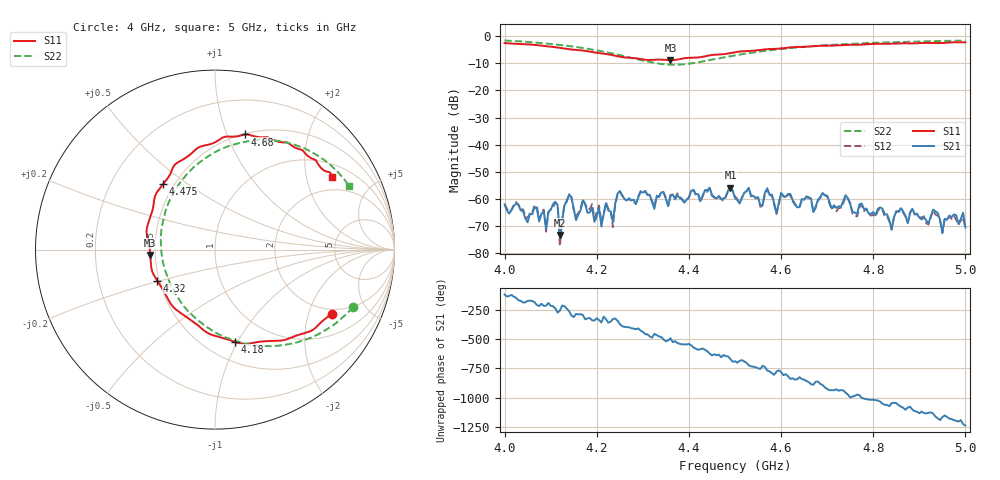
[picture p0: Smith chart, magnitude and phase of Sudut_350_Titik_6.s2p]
# Hz S RI R 50
! CMT, C1220, 16058040, 17.2.0/1
! Date: 15/08/2018 12:14:50
! Data: Format (Calibration Info)
! Freq  S11: Re/Im (F2)  S21: Re/Im (F2)  S12: Re/Im (F2)  S22: Re/Im (F2)
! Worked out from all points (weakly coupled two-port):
!   201 points, 4 GHz to 5 GHz, reference 50 ohm
!   highest |S21| = -55.72 dB at 4.49 GHz (marker M1); lowest = -73.2 dB at 4.12 GHz (marker M2)
!   lowest |S11| = -8.8 dB at 4.36 GHz (marker M3), VSWR 2.13, Z = 23.5 - j1.61 ohm
!   |S11| at or under -10 dB: nowhere
!   |S22| runs from -10.5 to -1.6 dB; largest |S21 - S12| = 0.00014
!   S11 on the Smith chart (normalised r, x): 4 GHz: 1.80, -2.88; 4.18 GHz: 0.69, -0.98; 4.32 GHz: 0.49, -0.19; 4.475 GHz: 0.44, +0.41; 4.68 GHz: 0.51, +1.16; 5 GHz: 1.44, +2.84
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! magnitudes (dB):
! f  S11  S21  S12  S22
! 4 GHz  -2.6  -61.9  -61.8  -1.6
! 4.085 GHz  -3.6  -64.4  -63.8  -2.6
! 4.09 GHz  -3.7  -70.9  -71.9  -2.7
! 4.11 GHz  -4.1  -60.9  -61.3  -3.0
! 4.12 GHz  -4.3  -73.2  -77.3  -3.2
! 4.14 GHz  -4.8  -58.2  -58.3  -3.7
! 4.155 GHz  -5.1  -67.7  -66.2  -4.0
! 4.17 GHz  -5.3  -60.4  -60.2  -4.4
! 4.18 GHz  -5.6  -65.1  -63.8  -4.7
! 4.22 GHz  -6.6  -61.5  -61.3  -5.9
! 4.235 GHz  -7.1  -68.3  -70.3  -6.4
! 4.25 GHz  -7.6  -57.0  -57.3  -7.0
! 4.32 GHz  -8.7  -61.1  -60.7  -9.7
! 4.335 GHz  -8.6  -59.2  -59.2  -10.1
! 4.36 GHz  -8.8  -59.0  -58.4  -10.5
! 4.475 GHz  -6.6  -59.9  -60.6  -7.9
! 4.49 GHz  -6.3  -55.7  -55.8  -7.4
! 4.5 GHz  -5.9  -59.6  -59.0  -7.1
! 4.67 GHz  -3.7  -64.8  -64.7  -3.7
! 4.68 GHz  -3.6  -60.3  -60.6  -3.5
! 4.835 GHz  -2.8  -67.8  -68.3  -2.3
! 5 GHz  -2.3  -70.4  -70.8  -1.6
